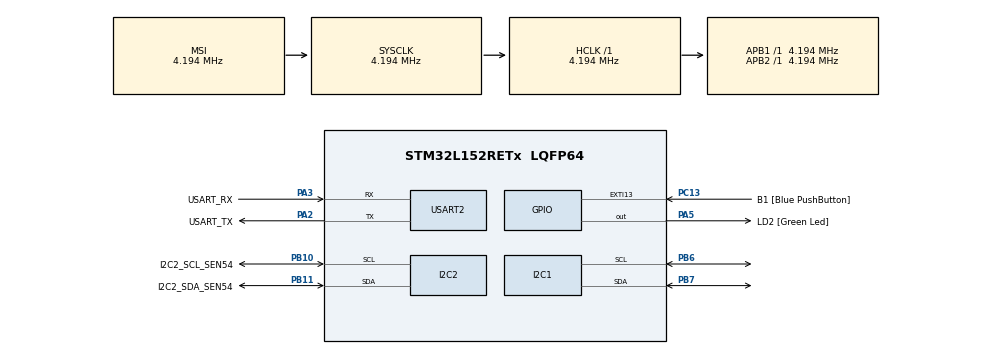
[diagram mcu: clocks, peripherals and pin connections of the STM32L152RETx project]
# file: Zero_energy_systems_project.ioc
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Mcu.Family=STM32L1
Mcu.Name=STM32L152RETx
Mcu.Package=LQFP64
NVIC.PriorityGroup=NVIC_PRIORITYGROUP_0
NVIC.RTC_WKUP_IRQn=true\:0\:0\:false\:false\:true\:true\:true\:true
NVIC.USART2_IRQn=true\:0\:0\:false\:false\:true\:true\:true\:true
PA13.GPIO_Label=TMS
PA13.Mode=Serial_Wire
PA13.Signal=SYS_JTMS-SWDIO
PA14.GPIO_Label=TCK
PA14.Mode=Serial_Wire
PA14.Signal=SYS_JTCK-SWCLK
PA2.GPIO_Label=USART_TX
PA2.Mode=Asynchronous
PA2.Signal=USART2_TX
PA3.GPIO_Label=USART_RX
PA3.Mode=Asynchronous
PA3.Signal=USART2_RX
PA5.GPIO_Label=LD2 [Green Led]
PA5.Signal=GPIO_Output
PB10.GPIO_Label=I2C2_SCL_SEN54
PB10.Mode=I2C
PB10.Signal=I2C2_SCL
PB11.GPIO_Label=I2C2_SDA_SEN54
PB11.Mode=I2C
PB11.Signal=I2C2_SDA
PB3.GPIO_Label=SWO
PB3.Signal=SYS_JTDO-TRACESWO
PB6.Mode=I2C
PB6.Signal=I2C1_SCL
PB7.Mode=I2C
PB7.Signal=I2C1_SDA
PC13-WKUP2.GPIO_Label=B1 [Blue PushButton]
PC13-WKUP2.Signal=GPXTI13
PC14-OSC32_IN.Mode=LSE-External-Oscillator
PC14-OSC32_IN.Signal=RCC_OSC32_IN
PC15-OSC32_OUT.Mode=LSE-External-Oscillator
PC15-OSC32_OUT.Signal=RCC_OSC32_OUT
PH0-OSC_IN.Signal=RCC_OSC_IN
PH1-OSC_OUT.Signal=RCC_OSC_OUT
ProjectManager.HeapSize=0x200
ProjectManager.StackSize=0x400
ProjectManager.TargetToolchain=CMake
RCC.48MHZClocksFreq_Value=48000000
RCC.AHBFreq_Value=4194000
RCC.APB1Freq_Value=4194000
RCC.APB1TimFreq_Value=4194000
RCC.APB2Freq_Value=4194000
RCC.APB2TimFreq_Value=4194000
RCC.HCLKFreq_Value=4194000
RCC.HSE_VALUE=8000000
RCC.HSI_VALUE=16000000
RCC.MSIClockRange=RCC_MSIRANGE_6
RCC.MSI_VALUE=4194000
RCC.PLLDIV=RCC_PLL_DIV3
RCC.PLLMUL=RCC_PLL_MUL6
RCC.RTCClockSelectionVirtual=RCC_RTCCLKSOURCE_LSE
RCC.SYSCLKFreq_VALUE=4194000
RCC.USBOutput=48000000
RCC.VCOOutputFreq_Value=96000000
USART2.VirtualMode=VM_ASYNC
VP_RTC_VS_RTC_Activate.Mode=RTC_Enabled
VP_RTC_VS_RTC_WakeUp_intern.Mode=WakeUp
board=NUCLEO-L152RE

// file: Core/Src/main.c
/* USER CODE BEGIN Header */
/**
  ******************************************************************************
  * @file              : main.c
  * @brief             : Główny program dla niskoenergetycznego monitora parametrów wnętrza obudowy fotolitografu.
  *
  * @description
  * Ten plik zawiera główną logikę aplikacji dla urządzenia niskiej mocy,
  * zaprojektowanego do monitorowania kluczowych parametrów środowiskowych
  * wewnątrz obudowy maszyny fotolitograficznej.
  *
  * System okresowo budzi się ze stanu niskiego poboru mocy, aby odczytać
  * dane z następujących czujników I2C:
  *
  * - TMP119:       Precyzyjny pomiar temperatury
  * - ILPS28QSW:    Ciśnienie baryczne i temperatura
  * - HDC3022-q1:   Wilgotność i temperatura
  * - TCS3720:      Natężenie światła (kanał Clear) TODO: niech zaczytuje też kanał 3 - BLUE
  * - SEN54:        Jakość powietrza (PM, VOC)
  *
  * Zebrane dane są następnie przesyłane po UART do urządzenia nadawczego
  *
  ******************************************************************************
  * @attention
  *
  * Copyright (c) 2025 STMicroelectronics.
  * All rights reserved.
  *
  * This software is licensed under terms that can be found in the LICENSE file
  * in the root directory of this software component.
  * If no LICENSE file comes with this software, it is provided AS-IS.
  *
  ******************************************************************************
  */
/* USER CODE END Header */
#include "main.h"

/* USER CODE BEGIN Includes */
#include "SEN54.h"
#include "stm32l1xx_hal.h"
#include "stm32l1xx_hal_def.h"
#include "stm32l1xx_hal_flash_ex.h"
#include "stm32l1xx_hal_pwr.h"
#include "stm32l1xx_hal_uart.h"

#include <stdarg.h>
#include <stdint.h>
#include <string.h>

// Pliki nagłówkowe do driverów sensorów
#include "TCS3720.h"
#include "ILPS28QSW.h"
#include "HDC3022-Q1.h"
#include "TMP119.h"
#include <stdio.h>
/* USER CODE END Includes */

/* USER CODE BEGIN PD */
#define SENSOR_READ_CYCLE_TIME  3000      // Ustala co ile wykonuje się pomiar z czujników
#define SEN54_WARMUP_TIME       60000     // Czas rozgrzewania się czujnika SEN54
/* USER CODE END PD */

I2C_HandleTypeDef hi2c1;
I2C_HandleTypeDef hi2c2;

RTC_HandleTypeDef hrtc;

UART_HandleTypeDef huart2;

/* USER CODE BEGIN PV */
static char UART_TX_BUFFER[64]; // Buffor do komunikacji UART - wysyłania
/* USER CODE END PV */

void SystemClock_Config(void);
static void MX_GPIO_Init(void);
static void MX_I2C1_Init(void);
static void MX_I2C2_Init(void);
static void MX_USART2_UART_Init(void);
static void MX_RTC_Init(void);

/* USER CODE BEGIN 0 */

void uint8_to_bin_str(uint8_t value, char* output_buffer) {
    for (int i = 7; i >= 0; i--) {
        uint8_t mask = (1 << i);
        if (value & mask) {
            output_buffer[7 - i] = '1';
        } else {
            output_buffer[7 - i] = '0';
        }
    }
    output_buffer[8] = '\0';
}

void sep(const char* value){
    uint16_t len = strlen(value);

    if (len > 0){
        HAL_UART_Transmit(&huart2, (uint8_t*)value, len, HAL_MAX_DELAY);
    }

    HAL_UART_Transmit(&huart2, (uint8_t*)"\r\n", 2, HAL_MAX_DELAY);
};

HAL_StatusTypeDef uart_print_check_stat(HAL_StatusTypeDef* status, const char* format, ...){
  // Sprawdza czy status jest poprawny
	if (*status != HAL_OK){
    const char* err_msg = "I2C STATUS ERROR\r\n";
    HAL_UART_Transmit(&huart2, (uint8_t*)err_msg, strlen(err_msg), HAL_MAX_DELAY);
    return *status;
  }

  va_list args;
  va_start(args, format);
  // Długość ciągu znaków na podstawie ilości argumentów i wpisanie argumentów do bufforu UART
  int len = vsprintf(UART_TX_BUFFER, format, args);
  va_end(args);

  // Sprawdza czy podane zostały jakiekolwiek argumenty
  if (len > 0){
      // Wyślij sformatowany string o dokładnej długości
      HAL_UART_Transmit(&huart2, (uint8_t*)UART_TX_BUFFER, len, HAL_MAX_DELAY);
  }

  return HAL_OK;
}

// CZUJNIK TEMPERATURY ---------------------------------------------------------
void temperature_sensor_ID(){
	uint16_t device_id;		// Zmienna przetrzymująca identyfikator producenta
	uint8_t rev;		// Zmienna przetrzymująca numer rewizji urządzenia

	HAL_StatusTypeDef status_id = TMP119_read_device_id_and_rev(&device_id, &rev);

  uart_print_check_stat(&status_id, "Device DID: %X\r\nDevice REV: %X \r\n", device_id, rev);
};

void temperature_sensor_init(){
	HAL_StatusTypeDef status = TMP119_init();

	if (status == HAL_OK){
		sprintf(UART_TX_BUFFER, "Initialized correctly.\r\n");
		HAL_UART_Transmit(&huart2, (uint8_t*)UART_TX_BUFFER, strlen(UART_TX_BUFFER), HAL_MAX_DELAY);
	}
	else{
		HAL_UART_Transmit(&huart2, (uint8_t*)"I2C Read Error\r\n", 18, HAL_MAX_DELAY);
	}
}

void temperature_sensor_read_temperature(float* temp){
	HAL_StatusTypeDef status = TMP119_read_temperature(temp);

	if (status == HAL_OK){
		sprintf(UART_TX_BUFFER, "Temperature: %.2f C\r\n", *temp);
		HAL_UART_Transmit(&huart2, (uint8_t*)UART_TX_BUFFER, strlen(UART_TX_BUFFER), HAL_MAX_DELAY);
	}
	else{
		// W przypadku gdy nie uda się odczytać danych przez I2C
		HAL_UART_Transmit(&huart2, (uint8_t*)"I2C Read Error\r\n", 18, HAL_MAX_DELAY);
	}
};

// CZUJNIK CIŚNIENIA -----------------------------------------------------------
void pressure_sensor_ID(){
	uint8_t device_id;		// Zmienna przetrzymująca odczyt z rejestru Device_ID
	HAL_StatusTypeDef status_id = ILPS28QSW_read_who_am_i(&device_id);

  uart_print_check_stat(&status_id, "ILPS28QSW:\r\nDevice DID: 0x%X\r\n", device_id);
};

void pressure_sensor_ctrl_regs(){
	uint8_t ctrl_reg_data[3];
	HAL_StatusTypeDef status_id = ILPS28QSW_read_ctrl_regs(ctrl_reg_data);

  char buffer_str0[9];
  char buffer_str1[9];
  char buffer_str2[9];

  uint8_to_bin_str(ctrl_reg_data[0], buffer_str0);
  uint8_to_bin_str(ctrl_reg_data[1], buffer_str1);
  uint8_to_bin_str(ctrl_reg_data[2], buffer_str2);

  uart_print_check_stat(
    &status_id,
    "Control registers:\r\n%s\r\n%s\r\n%s\r\n",
    buffer_str0,
    buffer_str1,
    buffer_str2
  );
};

void pressure_sensor_read_pressure_and_temp(float* pressure, float* temp){
	HAL_StatusTypeDef status = ILPS28QSW_read_pressure(pressure);

  if(status != HAL_OK){
    sep("ERROR: pressure read I2C error.");
  }

	status = ILPS28QSW_read_temp(temp);

  uart_print_check_stat(&status, "Pressure: %.2f hPa, %.2f C\r\n", *pressure, *temp);
}

void pressure_sensor_read_pressure(float* pressure){
	HAL_StatusTypeDef status = ILPS28QSW_read_pressure(pressure);

  uart_print_check_stat(&status, "Pressure: %.2f hPa\r\n", *pressure);
}

void pressure_sensor_read_temp(float* temp){
	HAL_StatusTypeDef status = ILPS28QSW_read_temp(temp);

  uart_print_check_stat(&status, "Temp: %.2f C\r\n", *temp);
}

void pressure_sensor_init(){
	HAL_StatusTypeDef status = ILPS28QSW_init();

  uart_print_check_stat(&status, "Pressure INIT complete\r\n");
}

// CZUJNIK WILGOCI -----------------------------------------------------------
void humidity_sensor_read_id(){
	uint16_t device_id;		// Zmienna przetrzymująca odczyt z rejestru Device_ID
  HAL_StatusTypeDef status = HDC3022_read_device_id(&device_id);

  uart_print_check_stat(&status, "HDC3022-Q1:\r\nDevice manufactureer ID: 0x%X\r\n", device_id);
}

void humidity_sensor_read_humidity_and_temp(float* humidity, float* temp){
	HAL_StatusTypeDef status = HDC3022_read_humidity_and_temperature(humidity, temp);

  uart_print_check_stat(&status, "Humidity: %.2f %% RH, %.2f C \r\n", *humidity, *temp);
}

// CZUJNIK NATĘŻENIA ŚWIATŁA -------------------------------------------------
void light_sensor_read_id(){
	uint8_t device_id;		// Zmienna przetrzymująca odczyt z rejestru Device_ID
  HAL_StatusTypeDef status = TCS3720_read_device_id(&device_id);

  uart_print_check_stat(&status, "TCS3720:\r\nDevice ID: 0x%X\r\n", device_id);
}

void light_sensor_read_light_intensity(uint16_t* light_intensity){
  HAL_StatusTypeDef status = TCS3720_read_light_intensity(light_intensity);

  uart_print_check_stat(&status, "Light intensity: %u\r\n", *light_intensity);
}

// Czujnik środowiskowy ------------------------------------------------------
void environment_sensor_read_all(float* pm1, float* pm2_5, float* pm4, float* pm10, float* voc, float* temp, float* humidity){
  HAL_StatusTypeDef status = SEN54_read_measurement_values(
    pm1,
    pm2_5,
    pm4,
    pm10,
    voc,
    temp,
    humidity
  );

  uart_print_check_stat(
    &status,
    "PM1.0: %.2f\r\nPM2.5: %.2f\r\nPM4: %.2f\r\nPM10: %.2f\r\nVOC: %.2f\r\nTEMP: %.2f C\r\nHUMIDITY: %.2f %% RH\r\n",
     *pm1,
     *pm2_5,
     *pm4,
     *pm10,
     *voc,
     *temp,
     *humidity
    );
}

void environment_sensor_wake_up(){
  HAL_StatusTypeDef status = SEN54_start_measurement();

  if (status != HAL_OK) {
    sep("SEN54: error on startup");
  }
}

void environment_sensor_put_to_sleep(){
  HAL_StatusTypeDef status = SEN54_stop_measurement();

  if (status != HAL_OK) {
    sep("SEN54: error when putting to sleep");
  }
}

/* USER CODE END 0 */

int main(void)
{

  /* MCU Configuration--------------------------------------------------------*/

  /* Reset of all peripherals, Initializes the Flash interface and the Systick. */
  HAL_Init();

  /* Configure the system clock */
  SystemClock_Config();

  /* Initialize all configured peripherals */
  MX_GPIO_Init();
  MX_I2C1_Init();
  MX_I2C2_Init();
  MX_USART2_UART_Init();
  MX_RTC_Init();
  /* USER CODE BEGIN 2 */
// Disable clocks for ALL peripherals you are not using
// --- AHB Bus Peripherals ---
  // __HAL_RCC_GPIOA_CLK_DISABLE(); // USED (USART2, LD2, Debug)
  // __HAL_RCC_GPIOB_CLK_DISABLE(); // USED (I2C1, I2C2)
  // __HAL_RCC_GPIOC_CLK_DISABLE(); // USED (B1 Button, LSE)
  __HAL_RCC_GPIOD_CLK_DISABLE(); // Not used
  __HAL_RCC_GPIOE_CLK_DISABLE(); // Not used
  __HAL_RCC_GPIOH_CLK_DISABLE(); // Not used
  __HAL_RCC_GPIOF_CLK_DISABLE(); // Not used
  __HAL_RCC_GPIOG_CLK_DISABLE(); // Not used

  __HAL_RCC_DMA1_CLK_DISABLE();  // Not used
  __HAL_RCC_CRC_CLK_DISABLE();   // Not used

  // Disable Flash interface clock (CPU will run from cache)
  __HAL_RCC_FLITF_CLK_DISABLE();

  // --- APB1 Bus Peripherals ---
  __HAL_RCC_TIM2_CLK_DISABLE();
  __HAL_RCC_TIM3_CLK_DISABLE();
  __HAL_RCC_TIM4_CLK_DISABLE();
  __HAL_RCC_TIM5_CLK_DISABLE();
  __HAL_RCC_TIM6_CLK_DISABLE();
  __HAL_RCC_TIM7_CLK_DISABLE();

  __HAL_RCC_WWDG_CLK_DISABLE();  // Window Watchdog
  __HAL_RCC_SPI2_CLK_DISABLE();
  __HAL_RCC_SPI3_CLK_DISABLE();

  // __HAL_RCC_USART2_CLK_DISABLE(); // USED (Communication)
  __HAL_RCC_USART3_CLK_DISABLE();
  __HAL_RCC_UART4_CLK_DISABLE();
  __HAL_RCC_UART5_CLK_DISABLE();

  // __HAL_RCC_I2C1_CLK_DISABLE(); // USED (Sensors)
  // __HAL_RCC_I2C2_CLK_DISABLE(); // USED (Sensors)

  __HAL_RCC_USB_CLK_DISABLE();
  __HAL_RCC_DAC_CLK_DISABLE();
  // __HAL_RCC_PWR_CLK_ENABLE();  // USED (For STOP Mode)
  // __HAL_RCC_COMP_CLK_ENABLE(); // USED (Part of SYS)

  // --- APB2 Bus Peripherals ---
  // __HAL_RCC_SYSCFG_CLK_ENABLE(); // USED (For EXTI / Interrupts)
  __HAL_RCC_TIM9_CLK_DISABLE();
  __HAL_RCC_TIM10_CLK_DISABLE();
  __HAL_RCC_TIM11_CLK_DISABLE();

  __HAL_RCC_ADC1_CLK_DISABLE();
  __HAL_RCC_SPI1_CLK_DISABLE();
  __HAL_RCC_USART1_CLK_DISABLE();

  // Power down the Flash memory during STOP mode
  __HAL_FLASH_SLEEP_POWERDOWN_ENABLE();

  // Po konfiguracji mikrokontrolera
  // uint32_t last_routine_call_time = 0;
  uint32_t warmup_time_counter = HAL_GetTick();

	sep("---------------------------------------");

  // CZUJNIK ŚRODOWISKOWY -------------------------------------------------------
  // Włącz czujnik - rozpoczyna cykl mierzenia i rozgrzewanie czujnika (min 1 minuta na rozgrzanie)
  environment_sensor_wake_up();

  // CZUJNIK TEMPERATURY -------------------------------------------------------
  // Zczytaj identyfikator i rewizje czujnika temperatury - TMP119
  sep("TMP119:");
  temperature_sensor_init();
	temperature_sensor_ID(); sep("");

  // CZUJNIK CIŚNIENIA ---------------------------------------------------------
  // Zczytaj identyfikator i rewizje czujnika ciśnienia - ILPS28QSW
	pressure_sensor_ID();
  // Zczytaj wartości rejestrów controli czujnika ciśnienia
  // informacje o trybach pracy/pozwala sterować czujnikiem
	pressure_sensor_ctrl_regs();
  // Inicjalizacja pracy w trybie 1 [Hz]
	pressure_sensor_init(); sep("");

  // CZUJNIK WILGOCI -----------------------------------------------------------
  // Zczytaj identyfikator producenta czujnika wilgotności - HDC3022-Q1
  humidity_sensor_read_id(); sep("");

  // CZUJNIK NATĘŻENIA ŚWIATŁA -------------------------------------------------
  light_sensor_read_id(); sep("");

	sep("---------------------------------------");

  /* USER CODE END 2 */

  /* Infinite loop */
  while (1){

    /* USER CODE BEGIN 3 */

    // DEFINIOWANIE ZMIENNYCH --------------------------------------------
    uint32_t current_time = HAL_GetTick();

    float	temp		= 0.0f;		        // Wartość temperatury  [°C]
    float	pressure	= 0.0f;		      // Wartość ciśnienia    [hPa]
    float	humidity	= 0.0f;		      // Wartość wilgotności  [%RH]
    uint16_t light_intensity	= 0;  // Wartość natężenia światła (wartość prosto z czujnika od 0 do 2047 - )
    // Czujnik środowiskowy
    float pm1        = 0.0f;  // Wartość PM1.0 [μg/m³]
    float pm2_5      = 0.0f;  // Wartość PM2.5 [μg/m³]
    float pm4        = 0.0f;  // Wartość PM4 [μg/m³]
    float pm10       = 0.0f;  // Wartość PM10 [μg/m³]
    float voc        = 0.0f;  // Wartość VOC w zakresie 0 - 500 gdzie 100 to wartość normalna (baseline)
                              // baseline jest ustalany na podstawie pomiarów z ostatnich 24 [h] - normalna wartość dla pomieszczenia

    // KOD --------------------------------------------------------------

    // Główna rutyna - pomiar z czujników na magistrali I2C1
    // if (current_time - last_routine_call_time >= SENSOR_READ_CYCLE_TIME) {
      // Zapisz obecny czas do zmiennej
      // last_routine_call_time = current_time;

      // Wykonaj time event - rutyne

      // Odczyt temperatury z sensora TMP119
      temperature_sensor_read_temperature(&temp);

      // Odczyt ciśnienia z sensora ILPS28QSW
      pressure_sensor_read_pressure_and_temp(&pressure, &temp);

      // Odczyt wilgotności z sensora HDC3022-Q1
      humidity_sensor_read_humidity_and_temp(&humidity, &temp);

      // Odczyt natężenia światła z sensora TCS3720
      light_sensor_read_light_intensity(&light_intensity);
      sep("");
    // }

    // Poboczna rutyna - odpowiedzialna za pomiar z czujnika SEN54
    if(warmup_time_counter != -1 && (current_time - warmup_time_counter) >= SEN54_WARMUP_TIME ){
      // Zmiana wartości na -1 aby zaznaczyć że poboczna rutyna wykonała się już raz i nie musi wykonywać się ponownie
      // Aby wykonać ją ponownie trzeba zmienić wartość zmiennej na obecny czas
      warmup_time_counter = -1;

      // Odczyt wszystkich wartości z czujnika środowiskowego
      sep("-------------------------------------------------");
      sep("SEN54:");
      environment_sensor_read_all(&pm1,&pm2_5, &pm4, &pm10, &voc, &temp, &humidity);
      environment_sensor_put_to_sleep();
      sep("-------------------------------------------------");
    }

    // Sprawdzenie czy zakończyła się transmisja UART
    while(HAL_UART_GetState(&huart2) == HAL_UART_STATE_BUSY_TX);

    // === PREPARE FOR SLEEP =======================
    // Zatrzymaj SysTick - inaczej po 1ms wszystko znowu się obudzi
    HAL_SuspendTick();
    // Ustawia alarm zegara RTC na 10s - 0x500B
    HAL_RTCEx_SetWakeUpTimer_IT(&hrtc, 0x500B, RTC_WAKEUPCLOCK_RTCCLK_DIV16);

    // === STOP MODE ==============================
    // Ustawianie trybu STOP na mikrokontrolerze
    HAL_PWR_EnterSTOPMode(PWR_LOWPOWERREGULATOR_ON, PWR_STOPENTRY_WFI);

    // === WAKE UP ===============================
    // Reinicjalizacja zegarów mikrokontrolera - bez tego nie zadziałą UART i I2C
    // Po wybudzeniu jedyne zegary jakie działają to te niskoenergetyczne (MSI)
    // jednak większość magistrali nie jest w stanie operować przy tej prędkości
    // i wymaga szybszych zegarów które zostały uśpione
    SystemClock_Config();
    // Przywraca SysTick
    HAL_ResumeTick();
    // Wyłącza zegar RTC aby ponownie nie wysyłał przerwania po określonym czasie
    HAL_RTCEx_DeactivateWakeUpTimer(&hrtc);
  }
  /* USER CODE END 3 */
}

void SystemClock_Config(void)
{
  RCC_OscInitTypeDef RCC_OscInitStruct = {0};
  RCC_ClkInitTypeDef RCC_ClkInitStruct = {0};
  RCC_PeriphCLKInitTypeDef PeriphClkInit = {0};

  /** Configure the main internal regulator output voltage
  */
  __HAL_PWR_VOLTAGESCALING_CONFIG(PWR_REGULATOR_VOLTAGE_SCALE1);

  /** Initializes the RCC Oscillators according to the specified parameters
  * in the RCC_OscInitTypeDef structure.
  */
  RCC_OscInitStruct.OscillatorType = RCC_OSCILLATORTYPE_LSE|RCC_OSCILLATORTYPE_MSI;
  RCC_OscInitStruct.LSEState = RCC_LSE_ON;
  RCC_OscInitStruct.MSIState = RCC_MSI_ON;
  RCC_OscInitStruct.MSICalibrationValue = 0;
  RCC_OscInitStruct.MSIClockRange = RCC_MSIRANGE_6;
  RCC_OscInitStruct.PLL.PLLState = RCC_PLL_NONE;
  if (HAL_RCC_OscConfig(&RCC_OscInitStruct) != HAL_OK)
  {
    Error_Handler();
  }

  /** Initializes the CPU, AHB and APB buses clocks
  */
  RCC_ClkInitStruct.ClockType = RCC_CLOCKTYPE_HCLK|RCC_CLOCKTYPE_SYSCLK
                              |RCC_CLOCKTYPE_PCLK1|RCC_CLOCKTYPE_PCLK2;
  RCC_ClkInitStruct.SYSCLKSource = RCC_SYSCLKSOURCE_MSI;
  RCC_ClkInitStruct.AHBCLKDivider = RCC_SYSCLK_DIV1;
  RCC_ClkInitStruct.APB1CLKDivider = RCC_HCLK_DIV1;
  RCC_ClkInitStruct.APB2CLKDivider = RCC_HCLK_DIV1;

  if (HAL_RCC_ClockConfig(&RCC_ClkInitStruct, FLASH_LATENCY_0) != HAL_OK)
  {
    Error_Handler();
  }
  PeriphClkInit.PeriphClockSelection = RCC_PERIPHCLK_RTC;
  PeriphClkInit.RTCClockSelection = RCC_RTCCLKSOURCE_LSE;
  if (HAL_RCCEx_PeriphCLKConfig(&PeriphClkInit) != HAL_OK)
  {
    Error_Handler();
  }
}

static void MX_I2C1_Init(void)
{

  hi2c1.Instance = I2C1;
  hi2c1.Init.ClockSpeed = 100000;
  hi2c1.Init.DutyCycle = I2C_DUTYCYCLE_2;
  hi2c1.Init.OwnAddress1 = 0;
  hi2c1.Init.AddressingMode = I2C_ADDRESSINGMODE_7BIT;
  hi2c1.Init.DualAddressMode = I2C_DUALADDRESS_DISABLE;
  hi2c1.Init.OwnAddress2 = 0;
  hi2c1.Init.GeneralCallMode = I2C_GENERALCALL_DISABLE;
  hi2c1.Init.NoStretchMode = I2C_NOSTRETCH_DISABLE;
  if (HAL_I2C_Init(&hi2c1) != HAL_OK)
  {
    Error_Handler();
  }

}

static void MX_I2C2_Init(void)
{

  hi2c2.Instance = I2C2;
  hi2c2.Init.ClockSpeed = 100000;
  hi2c2.Init.DutyCycle = I2C_DUTYCYCLE_2;
  hi2c2.Init.OwnAddress1 = 0;
  hi2c2.Init.AddressingMode = I2C_ADDRESSINGMODE_7BIT;
  hi2c2.Init.DualAddressMode = I2C_DUALADDRESS_DISABLE;
  hi2c2.Init.OwnAddress2 = 0;
  hi2c2.Init.GeneralCallMode = I2C_GENERALCALL_DISABLE;
  hi2c2.Init.NoStretchMode = I2C_NOSTRETCH_DISABLE;
  if (HAL_I2C_Init(&hi2c2) != HAL_OK)
  {
    Error_Handler();
  }

}

static void MX_RTC_Init(void)
{

  RTC_TimeTypeDef sTime = {0};
  RTC_DateTypeDef sDate = {0};

  /** Initialize RTC Only
  */
  hrtc.Instance = RTC;
  hrtc.Init.HourFormat = RTC_HOURFORMAT_24;
  hrtc.Init.AsynchPrediv = 127;
  hrtc.Init.SynchPrediv = 255;
  hrtc.Init.OutPut = RTC_OUTPUT_DISABLE;
  hrtc.Init.OutPutPolarity = RTC_OUTPUT_POLARITY_HIGH;
  hrtc.Init.OutPutType = RTC_OUTPUT_TYPE_OPENDRAIN;
  if (HAL_RTC_Init(&hrtc) != HAL_OK)
  {
    Error_Handler();
  }

  /** Initialize RTC and set the Time and Date
  */
  sTime.Hours = 0x0;
  sTime.Minutes = 0x0;
  sTime.Seconds = 0x0;
  sTime.DayLightSaving = RTC_DAYLIGHTSAVING_NONE;
  sTime.StoreOperation = RTC_STOREOPERATION_RESET;
  if (HAL_RTC_SetTime(&hrtc, &sTime, RTC_FORMAT_BCD) != HAL_OK)
  {
    Error_Handler();
  }
  sDate.WeekDay = RTC_WEEKDAY_MONDAY;
  sDate.Month = RTC_MONTH_JANUARY;
  sDate.Date = 0x1;
  sDate.Year = 0x0;

  if (HAL_RTC_SetDate(&hrtc, &sDate, RTC_FORMAT_BCD) != HAL_OK)
  {
    Error_Handler();
  }

  /** Enable the WakeUp
  */
  if (HAL_RTCEx_SetWakeUpTimer_IT(&hrtc, 0, RTC_WAKEUPCLOCK_RTCCLK_DIV16) != HAL_OK)
  {
    Error_Handler();
  }

}

static void MX_USART2_UART_Init(void)
{

  huart2.Instance = USART2;
  huart2.Init.BaudRate = 115200;
  huart2.Init.WordLength = UART_WORDLENGTH_8B;
  huart2.Init.StopBits = UART_STOPBITS_1;
  huart2.Init.Parity = UART_PARITY_NONE;
  huart2.Init.Mode = UART_MODE_TX_RX;
  huart2.Init.HwFlowCtl = UART_HWCONTROL_NONE;
  huart2.Init.OverSampling = UART_OVERSAMPLING_16;
  if (HAL_UART_Init(&huart2) != HAL_OK)
  {
    Error_Handler();
  }

}

static void MX_GPIO_Init(void)
{
  GPIO_InitTypeDef GPIO_InitStruct = {0};

  /* GPIO Ports Clock Enable */
  __HAL_RCC_GPIOC_CLK_ENABLE();
  __HAL_RCC_GPIOH_CLK_ENABLE();
  __HAL_RCC_GPIOA_CLK_ENABLE();
  __HAL_RCC_GPIOB_CLK_ENABLE();

  /*Configure GPIO pin Output Level */
  HAL_GPIO_WritePin(LD2_GPIO_Port, LD2_Pin, GPIO_PIN_RESET);

  /*Configure GPIO pin : B1_Pin */
  GPIO_InitStruct.Pin = B1_Pin;
  GPIO_InitStruct.Mode = GPIO_MODE_IT_RISING;
  GPIO_InitStruct.Pull = GPIO_NOPULL;
  HAL_GPIO_Init(B1_GPIO_Port, &GPIO_InitStruct);

  /*Configure GPIO pin : LD2_Pin */
  GPIO_InitStruct.Pin = LD2_Pin;
  GPIO_InitStruct.Mode = GPIO_MODE_OUTPUT_PP;
  GPIO_InitStruct.Pull = GPIO_NOPULL;
  GPIO_InitStruct.Speed = GPIO_SPEED_FREQ_LOW;
  HAL_GPIO_Init(LD2_GPIO_Port, &GPIO_InitStruct);

}

void Error_Handler(void)
{
  __disable_irq();
  while (1)
  {
  }
}
